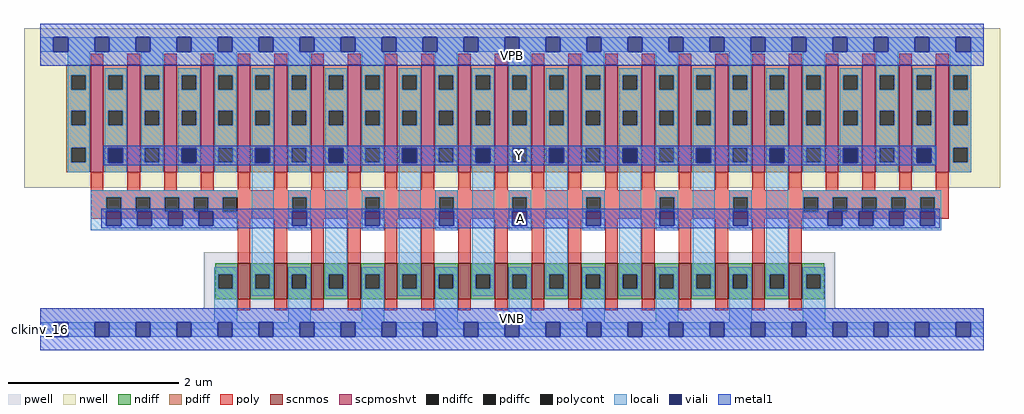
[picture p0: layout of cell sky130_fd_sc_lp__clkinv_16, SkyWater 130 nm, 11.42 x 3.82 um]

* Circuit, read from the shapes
.subckt sky130_fd_sc_lp__clkinv_16 A VGND VNB VPB VPWR Y
XM1 Y A VGND VNB sky130_fd_pr__nfet_01v8 w=0.42 l=0.15 m=16
XM2 Y A VPWR VPB sky130_fd_pr__pfet_01v8_hvt w=1.26 l=0.15 m=24
.ends

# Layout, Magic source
magic
tech sky130A
magscale 1 2
<< nwell >>
rect -38 331 2246 704
<< pwell >>
rect 383 49 1861 180
rect 0 0 2208 49
<< scnmos >>
rect 462 70 492 154
rect 548 70 578 154
rect 634 70 664 154
rect 720 70 750 154
rect 806 70 836 154
rect 892 70 922 154
rect 978 70 1008 154
rect 1064 70 1094 154
rect 1150 70 1180 154
rect 1236 70 1266 154
rect 1322 70 1352 154
rect 1408 70 1438 154
rect 1494 70 1524 154
rect 1580 70 1610 154
rect 1666 70 1696 154
rect 1752 70 1782 154
<< scpmoshvt >>
rect 118 367 148 619
rect 204 367 234 619
rect 290 367 320 619
rect 376 367 406 619
rect 462 367 492 619
rect 548 367 578 619
rect 634 367 664 619
rect 720 367 750 619
rect 806 367 836 619
rect 892 367 922 619
rect 978 367 1008 619
rect 1064 367 1094 619
rect 1150 367 1180 619
rect 1236 367 1266 619
rect 1322 367 1352 619
rect 1408 367 1438 619
rect 1494 367 1524 619
rect 1580 367 1610 619
rect 1666 367 1696 619
rect 1752 367 1782 619
rect 1838 367 1868 619
rect 1924 367 1954 619
rect 2010 367 2040 619
rect 2096 367 2126 619
<< ndiff >>
rect 409 129 462 154
rect 409 95 417 129
rect 451 95 462 129
rect 409 70 462 95
rect 492 129 548 154
rect 492 95 503 129
rect 537 95 548 129
rect 492 70 548 95
rect 578 129 634 154
rect 578 95 589 129
rect 623 95 634 129
rect 578 70 634 95
rect 664 129 720 154
rect 664 95 675 129
rect 709 95 720 129
rect 664 70 720 95
rect 750 129 806 154
rect 750 95 761 129
rect 795 95 806 129
rect 750 70 806 95
rect 836 129 892 154
rect 836 95 847 129
rect 881 95 892 129
rect 836 70 892 95
rect 922 129 978 154
rect 922 95 933 129
rect 967 95 978 129
rect 922 70 978 95
rect 1008 129 1064 154
rect 1008 95 1019 129
rect 1053 95 1064 129
rect 1008 70 1064 95
rect 1094 129 1150 154
rect 1094 95 1105 129
rect 1139 95 1150 129
rect 1094 70 1150 95
rect 1180 129 1236 154
rect 1180 95 1191 129
rect 1225 95 1236 129
rect 1180 70 1236 95
rect 1266 129 1322 154
rect 1266 95 1277 129
rect 1311 95 1322 129
rect 1266 70 1322 95
rect 1352 129 1408 154
rect 1352 95 1363 129
rect 1397 95 1408 129
rect 1352 70 1408 95
rect 1438 129 1494 154
rect 1438 95 1449 129
rect 1483 95 1494 129
rect 1438 70 1494 95
rect 1524 129 1580 154
rect 1524 95 1535 129
rect 1569 95 1580 129
rect 1524 70 1580 95
rect 1610 129 1666 154
rect 1610 95 1621 129
rect 1655 95 1666 129
rect 1610 70 1666 95
rect 1696 129 1752 154
rect 1696 95 1707 129
rect 1741 95 1752 129
rect 1696 70 1752 95
rect 1782 129 1835 154
rect 1782 95 1793 129
rect 1827 95 1835 129
rect 1782 70 1835 95
<< pdiff >>
rect 61 595 118 619
rect 61 561 73 595
rect 107 561 118 595
rect 61 511 118 561
rect 61 477 73 511
rect 107 477 118 511
rect 61 425 118 477
rect 61 391 73 425
rect 107 391 118 425
rect 61 367 118 391
rect 148 595 204 619
rect 148 561 159 595
rect 193 561 204 595
rect 148 511 204 561
rect 148 477 159 511
rect 193 477 204 511
rect 148 425 204 477
rect 148 391 159 425
rect 193 391 204 425
rect 148 367 204 391
rect 234 595 290 619
rect 234 561 245 595
rect 279 561 290 595
rect 234 511 290 561
rect 234 477 245 511
rect 279 477 290 511
rect 234 425 290 477
rect 234 391 245 425
rect 279 391 290 425
rect 234 367 290 391
rect 320 595 376 619
rect 320 561 331 595
rect 365 561 376 595
rect 320 511 376 561
rect 320 477 331 511
rect 365 477 376 511
rect 320 425 376 477
rect 320 391 331 425
rect 365 391 376 425
rect 320 367 376 391
rect 406 595 462 619
rect 406 561 417 595
rect 451 561 462 595
rect 406 511 462 561
rect 406 477 417 511
rect 451 477 462 511
rect 406 425 462 477
rect 406 391 417 425
rect 451 391 462 425
rect 406 367 462 391
rect 492 595 548 619
rect 492 561 503 595
rect 537 561 548 595
rect 492 511 548 561
rect 492 477 503 511
rect 537 477 548 511
rect 492 425 548 477
rect 492 391 503 425
rect 537 391 548 425
rect 492 367 548 391
rect 578 595 634 619
rect 578 561 589 595
rect 623 561 634 595
rect 578 511 634 561
rect 578 477 589 511
rect 623 477 634 511
rect 578 425 634 477
rect 578 391 589 425
rect 623 391 634 425
rect 578 367 634 391
rect 664 595 720 619
rect 664 561 675 595
rect 709 561 720 595
rect 664 511 720 561
rect 664 477 675 511
rect 709 477 720 511
rect 664 425 720 477
rect 664 391 675 425
rect 709 391 720 425
rect 664 367 720 391
rect 750 595 806 619
rect 750 561 761 595
rect 795 561 806 595
rect 750 511 806 561
rect 750 477 761 511
rect 795 477 806 511
rect 750 425 806 477
rect 750 391 761 425
rect 795 391 806 425
rect 750 367 806 391
rect 836 595 892 619
rect 836 561 847 595
rect 881 561 892 595
rect 836 511 892 561
rect 836 477 847 511
rect 881 477 892 511
rect 836 425 892 477
rect 836 391 847 425
rect 881 391 892 425
rect 836 367 892 391
rect 922 595 978 619
rect 922 561 933 595
rect 967 561 978 595
rect 922 511 978 561
rect 922 477 933 511
rect 967 477 978 511
rect 922 425 978 477
rect 922 391 933 425
rect 967 391 978 425
rect 922 367 978 391
rect 1008 595 1064 619
rect 1008 561 1019 595
rect 1053 561 1064 595
rect 1008 511 1064 561
rect 1008 477 1019 511
rect 1053 477 1064 511
rect 1008 425 1064 477
rect 1008 391 1019 425
rect 1053 391 1064 425
rect 1008 367 1064 391
rect 1094 595 1150 619
rect 1094 561 1105 595
rect 1139 561 1150 595
rect 1094 511 1150 561
rect 1094 477 1105 511
rect 1139 477 1150 511
rect 1094 425 1150 477
rect 1094 391 1105 425
rect 1139 391 1150 425
rect 1094 367 1150 391
rect 1180 595 1236 619
rect 1180 561 1191 595
rect 1225 561 1236 595
rect 1180 511 1236 561
rect 1180 477 1191 511
rect 1225 477 1236 511
rect 1180 425 1236 477
rect 1180 391 1191 425
rect 1225 391 1236 425
rect 1180 367 1236 391
rect 1266 595 1322 619
rect 1266 561 1277 595
rect 1311 561 1322 595
rect 1266 511 1322 561
rect 1266 477 1277 511
rect 1311 477 1322 511
rect 1266 425 1322 477
rect 1266 391 1277 425
rect 1311 391 1322 425
rect 1266 367 1322 391
rect 1352 595 1408 619
rect 1352 561 1363 595
rect 1397 561 1408 595
rect 1352 511 1408 561
rect 1352 477 1363 511
rect 1397 477 1408 511
rect 1352 425 1408 477
rect 1352 391 1363 425
rect 1397 391 1408 425
rect 1352 367 1408 391
rect 1438 595 1494 619
rect 1438 561 1449 595
rect 1483 561 1494 595
rect 1438 511 1494 561
rect 1438 477 1449 511
rect 1483 477 1494 511
rect 1438 425 1494 477
rect 1438 391 1449 425
rect 1483 391 1494 425
rect 1438 367 1494 391
rect 1524 595 1580 619
rect 1524 561 1535 595
rect 1569 561 1580 595
rect 1524 511 1580 561
rect 1524 477 1535 511
rect 1569 477 1580 511
rect 1524 425 1580 477
rect 1524 391 1535 425
rect 1569 391 1580 425
rect 1524 367 1580 391
rect 1610 595 1666 619
rect 1610 561 1621 595
rect 1655 561 1666 595
rect 1610 511 1666 561
rect 1610 477 1621 511
rect 1655 477 1666 511
rect 1610 425 1666 477
rect 1610 391 1621 425
rect 1655 391 1666 425
rect 1610 367 1666 391
rect 1696 595 1752 619
rect 1696 561 1707 595
rect 1741 561 1752 595
rect 1696 511 1752 561
rect 1696 477 1707 511
rect 1741 477 1752 511
rect 1696 425 1752 477
rect 1696 391 1707 425
rect 1741 391 1752 425
rect 1696 367 1752 391
rect 1782 595 1838 619
rect 1782 561 1793 595
rect 1827 561 1838 595
rect 1782 511 1838 561
rect 1782 477 1793 511
rect 1827 477 1838 511
rect 1782 425 1838 477
rect 1782 391 1793 425
rect 1827 391 1838 425
rect 1782 367 1838 391
rect 1868 595 1924 619
rect 1868 561 1879 595
rect 1913 561 1924 595
rect 1868 511 1924 561
rect 1868 477 1879 511
rect 1913 477 1924 511
rect 1868 425 1924 477
rect 1868 391 1879 425
rect 1913 391 1924 425
rect 1868 367 1924 391
rect 1954 595 2010 619
rect 1954 561 1965 595
rect 1999 561 2010 595
rect 1954 511 2010 561
rect 1954 477 1965 511
rect 1999 477 2010 511
rect 1954 425 2010 477
rect 1954 391 1965 425
rect 1999 391 2010 425
rect 1954 367 2010 391
rect 2040 595 2096 619
rect 2040 561 2051 595
rect 2085 561 2096 595
rect 2040 511 2096 561
rect 2040 477 2051 511
rect 2085 477 2096 511
rect 2040 425 2096 477
rect 2040 391 2051 425
rect 2085 391 2096 425
rect 2040 367 2096 391
rect 2126 595 2179 619
rect 2126 561 2137 595
rect 2171 561 2179 595
rect 2126 511 2179 561
rect 2126 477 2137 511
rect 2171 477 2179 511
rect 2126 425 2179 477
rect 2126 391 2137 425
rect 2171 391 2179 425
rect 2126 367 2179 391
<< ndiffc >>
rect 417 95 451 129
rect 503 95 537 129
rect 589 95 623 129
rect 675 95 709 129
rect 761 95 795 129
rect 847 95 881 129
rect 933 95 967 129
rect 1019 95 1053 129
rect 1105 95 1139 129
rect 1191 95 1225 129
rect 1277 95 1311 129
rect 1363 95 1397 129
rect 1449 95 1483 129
rect 1535 95 1569 129
rect 1621 95 1655 129
rect 1707 95 1741 129
rect 1793 95 1827 129
<< pdiffc >>
rect 73 561 107 595
rect 73 477 107 511
rect 73 391 107 425
rect 159 561 193 595
rect 159 477 193 511
rect 159 391 193 425
rect 245 561 279 595
rect 245 477 279 511
rect 245 391 279 425
rect 331 561 365 595
rect 331 477 365 511
rect 331 391 365 425
rect 417 561 451 595
rect 417 477 451 511
rect 417 391 451 425
rect 503 561 537 595
rect 503 477 537 511
rect 503 391 537 425
rect 589 561 623 595
rect 589 477 623 511
rect 589 391 623 425
rect 675 561 709 595
rect 675 477 709 511
rect 675 391 709 425
rect 761 561 795 595
rect 761 477 795 511
rect 761 391 795 425
rect 847 561 881 595
rect 847 477 881 511
rect 847 391 881 425
rect 933 561 967 595
rect 933 477 967 511
rect 933 391 967 425
rect 1019 561 1053 595
rect 1019 477 1053 511
rect 1019 391 1053 425
rect 1105 561 1139 595
rect 1105 477 1139 511
rect 1105 391 1139 425
rect 1191 561 1225 595
rect 1191 477 1225 511
rect 1191 391 1225 425
rect 1277 561 1311 595
rect 1277 477 1311 511
rect 1277 391 1311 425
rect 1363 561 1397 595
rect 1363 477 1397 511
rect 1363 391 1397 425
rect 1449 561 1483 595
rect 1449 477 1483 511
rect 1449 391 1483 425
rect 1535 561 1569 595
rect 1535 477 1569 511
rect 1535 391 1569 425
rect 1621 561 1655 595
rect 1621 477 1655 511
rect 1621 391 1655 425
rect 1707 561 1741 595
rect 1707 477 1741 511
rect 1707 391 1741 425
rect 1793 561 1827 595
rect 1793 477 1827 511
rect 1793 391 1827 425
rect 1879 561 1913 595
rect 1879 477 1913 511
rect 1879 391 1913 425
rect 1965 561 1999 595
rect 1965 477 1999 511
rect 1965 391 1999 425
rect 2051 561 2085 595
rect 2051 477 2085 511
rect 2051 391 2085 425
rect 2137 561 2171 595
rect 2137 477 2171 511
rect 2137 391 2171 425
<< poly >>
rect 118 619 148 645
rect 204 619 234 645
rect 290 619 320 645
rect 376 619 406 645
rect 462 619 492 645
rect 548 619 578 645
rect 634 619 664 645
rect 720 619 750 645
rect 806 619 836 645
rect 892 619 922 645
rect 978 619 1008 645
rect 1064 619 1094 645
rect 1150 619 1180 645
rect 1236 619 1266 645
rect 1322 619 1352 645
rect 1408 619 1438 645
rect 1494 619 1524 645
rect 1580 619 1610 645
rect 1666 619 1696 645
rect 1752 619 1782 645
rect 1838 619 1868 645
rect 1924 619 1954 645
rect 2010 619 2040 645
rect 2096 619 2126 645
rect 118 325 148 367
rect 204 325 234 367
rect 290 325 320 367
rect 376 325 406 367
rect 462 325 492 367
rect 548 325 578 367
rect 634 325 664 367
rect 720 325 750 367
rect 806 325 836 367
rect 892 325 922 367
rect 978 325 1008 367
rect 1064 325 1094 367
rect 1150 325 1180 367
rect 1236 325 1266 367
rect 1322 325 1352 367
rect 1408 325 1438 367
rect 1494 325 1524 367
rect 1580 325 1610 367
rect 1666 325 1696 367
rect 1752 325 1782 367
rect 1838 325 1868 367
rect 1924 325 1954 367
rect 2010 325 2040 367
rect 2096 325 2126 367
rect 118 309 2126 325
rect 118 275 155 309
rect 189 275 223 309
rect 257 275 291 309
rect 325 275 359 309
rect 393 275 427 309
rect 461 275 590 309
rect 624 275 761 309
rect 795 275 934 309
rect 968 275 1105 309
rect 1139 275 1278 309
rect 1312 275 1450 309
rect 1484 275 1622 309
rect 1656 275 1787 309
rect 1821 275 1855 309
rect 1889 275 1923 309
rect 1957 275 1991 309
rect 2025 275 2059 309
rect 2093 275 2126 309
rect 118 259 2126 275
rect 462 154 492 259
rect 548 154 578 259
rect 634 154 664 259
rect 720 154 750 259
rect 806 154 836 259
rect 892 154 922 259
rect 978 154 1008 259
rect 1064 154 1094 259
rect 1150 154 1180 259
rect 1236 154 1266 259
rect 1322 154 1352 259
rect 1408 154 1438 259
rect 1494 154 1524 259
rect 1580 154 1610 259
rect 1666 154 1696 259
rect 1752 154 1782 259
rect 462 44 492 70
rect 548 44 578 70
rect 634 44 664 70
rect 720 44 750 70
rect 806 44 836 70
rect 892 44 922 70
rect 978 44 1008 70
rect 1064 44 1094 70
rect 1150 44 1180 70
rect 1236 44 1266 70
rect 1322 44 1352 70
rect 1408 44 1438 70
rect 1494 44 1524 70
rect 1580 44 1610 70
rect 1666 44 1696 70
rect 1752 44 1782 70
<< polycont >>
rect 155 275 189 309
rect 223 275 257 309
rect 291 275 325 309
rect 359 275 393 309
rect 427 275 461 309
rect 590 275 624 309
rect 761 275 795 309
rect 934 275 968 309
rect 1105 275 1139 309
rect 1278 275 1312 309
rect 1450 275 1484 309
rect 1622 275 1656 309
rect 1787 275 1821 309
rect 1855 275 1889 309
rect 1923 275 1957 309
rect 1991 275 2025 309
rect 2059 275 2093 309
<< locali >>
rect 0 649 31 683
rect 65 649 127 683
rect 161 649 223 683
rect 257 649 319 683
rect 353 649 415 683
rect 449 649 511 683
rect 545 649 607 683
rect 641 649 703 683
rect 737 649 799 683
rect 833 649 895 683
rect 929 649 991 683
rect 1025 649 1087 683
rect 1121 649 1183 683
rect 1217 649 1279 683
rect 1313 649 1375 683
rect 1409 649 1471 683
rect 1505 649 1567 683
rect 1601 649 1663 683
rect 1697 649 1759 683
rect 1793 649 1855 683
rect 1889 649 1951 683
rect 1985 649 2047 683
rect 2081 649 2143 683
rect 2177 649 2208 683
rect 64 595 116 649
rect 64 561 73 595
rect 107 561 116 595
rect 64 511 116 561
rect 64 477 73 511
rect 107 477 116 511
rect 64 425 116 477
rect 64 391 73 425
rect 107 391 116 425
rect 64 367 116 391
rect 151 595 202 611
rect 151 561 159 595
rect 193 561 202 595
rect 151 511 202 561
rect 151 477 159 511
rect 193 477 202 511
rect 151 425 202 477
rect 151 390 159 425
rect 193 390 202 425
rect 151 367 202 390
rect 236 595 288 649
rect 236 561 245 595
rect 279 561 288 595
rect 236 511 288 561
rect 236 477 245 511
rect 279 477 288 511
rect 236 425 288 477
rect 236 391 245 425
rect 279 391 288 425
rect 236 367 288 391
rect 323 595 374 611
rect 323 561 331 595
rect 365 561 374 595
rect 323 511 374 561
rect 323 477 331 511
rect 365 477 374 511
rect 323 425 374 477
rect 323 390 331 425
rect 365 390 374 425
rect 323 367 374 390
rect 408 595 460 649
rect 408 561 417 595
rect 451 561 460 595
rect 408 511 460 561
rect 408 477 417 511
rect 451 477 460 511
rect 408 425 460 477
rect 408 391 417 425
rect 451 391 460 425
rect 408 367 460 391
rect 495 595 546 611
rect 495 561 503 595
rect 537 561 546 595
rect 495 511 546 561
rect 495 477 503 511
rect 537 477 546 511
rect 495 425 546 477
rect 495 390 503 425
rect 537 390 546 425
rect 118 309 461 325
rect 118 242 155 309
rect 189 275 223 309
rect 257 276 291 309
rect 325 276 359 309
rect 393 276 427 309
rect 261 275 291 276
rect 333 275 359 276
rect 405 275 427 276
rect 189 242 227 275
rect 261 242 299 275
rect 333 242 371 275
rect 405 242 461 275
rect 118 232 461 242
rect 407 129 461 145
rect 407 95 417 129
rect 451 95 461 129
rect 407 17 461 95
rect 495 129 546 390
rect 580 595 632 649
rect 580 561 589 595
rect 623 561 632 595
rect 580 511 632 561
rect 580 477 589 511
rect 623 477 632 511
rect 580 425 632 477
rect 580 391 589 425
rect 623 391 632 425
rect 580 367 632 391
rect 667 595 718 611
rect 667 561 675 595
rect 709 561 718 595
rect 667 511 718 561
rect 667 477 675 511
rect 709 477 718 511
rect 667 425 718 477
rect 667 390 675 425
rect 709 390 718 425
rect 580 309 633 325
rect 580 242 590 309
rect 624 242 633 309
rect 580 232 633 242
rect 495 95 503 129
rect 537 95 546 129
rect 495 79 546 95
rect 580 129 633 145
rect 580 95 589 129
rect 623 95 633 129
rect 580 17 633 95
rect 667 129 718 390
rect 752 595 804 649
rect 752 561 761 595
rect 795 561 804 595
rect 752 511 804 561
rect 752 477 761 511
rect 795 477 804 511
rect 752 425 804 477
rect 752 391 761 425
rect 795 391 804 425
rect 752 367 804 391
rect 839 595 890 611
rect 839 561 847 595
rect 881 561 890 595
rect 839 511 890 561
rect 839 477 847 511
rect 881 477 890 511
rect 839 425 890 477
rect 839 390 847 425
rect 881 390 890 425
rect 752 309 805 325
rect 752 242 761 309
rect 795 242 805 309
rect 752 232 805 242
rect 667 95 675 129
rect 709 95 718 129
rect 667 79 718 95
rect 752 129 805 145
rect 752 95 761 129
rect 795 95 805 129
rect 752 17 805 95
rect 839 129 890 390
rect 924 595 976 649
rect 924 561 933 595
rect 967 561 976 595
rect 924 511 976 561
rect 924 477 933 511
rect 967 477 976 511
rect 924 425 976 477
rect 924 391 933 425
rect 967 391 976 425
rect 924 367 976 391
rect 1010 595 1062 611
rect 1010 561 1019 595
rect 1053 561 1062 595
rect 1010 511 1062 561
rect 1010 477 1019 511
rect 1053 477 1062 511
rect 1010 425 1062 477
rect 1010 390 1019 425
rect 1053 390 1062 425
rect 1010 377 1062 390
rect 924 309 977 325
rect 924 242 934 309
rect 968 242 977 309
rect 924 232 977 242
rect 839 95 847 129
rect 881 95 890 129
rect 839 79 890 95
rect 924 129 977 145
rect 924 95 933 129
rect 967 95 977 129
rect 924 17 977 95
rect 1011 129 1062 377
rect 1096 595 1148 649
rect 1096 561 1105 595
rect 1139 561 1148 595
rect 1096 511 1148 561
rect 1096 477 1105 511
rect 1139 477 1148 511
rect 1096 425 1148 477
rect 1096 391 1105 425
rect 1139 391 1148 425
rect 1096 367 1148 391
rect 1183 595 1234 611
rect 1183 561 1191 595
rect 1225 561 1234 595
rect 1183 511 1234 561
rect 1183 477 1191 511
rect 1225 477 1234 511
rect 1183 425 1234 477
rect 1183 390 1191 425
rect 1225 390 1234 425
rect 1096 309 1149 325
rect 1096 242 1105 309
rect 1139 242 1149 309
rect 1096 232 1149 242
rect 1011 95 1019 129
rect 1053 95 1062 129
rect 1011 79 1062 95
rect 1096 129 1149 145
rect 1096 95 1105 129
rect 1139 95 1149 129
rect 1096 17 1149 95
rect 1183 129 1234 390
rect 1268 595 1320 649
rect 1268 561 1277 595
rect 1311 561 1320 595
rect 1268 511 1320 561
rect 1268 477 1277 511
rect 1311 477 1320 511
rect 1268 425 1320 477
rect 1268 391 1277 425
rect 1311 391 1320 425
rect 1268 367 1320 391
rect 1355 595 1406 611
rect 1355 561 1363 595
rect 1397 561 1406 595
rect 1355 511 1406 561
rect 1355 477 1363 511
rect 1397 477 1406 511
rect 1355 425 1406 477
rect 1355 390 1363 425
rect 1397 390 1406 425
rect 1268 309 1321 325
rect 1268 242 1278 309
rect 1312 242 1321 309
rect 1268 232 1321 242
rect 1183 95 1191 129
rect 1225 95 1234 129
rect 1183 79 1234 95
rect 1268 129 1321 145
rect 1268 95 1277 129
rect 1311 95 1321 129
rect 1268 17 1321 95
rect 1355 129 1406 390
rect 1440 595 1492 649
rect 1440 561 1449 595
rect 1483 561 1492 595
rect 1440 511 1492 561
rect 1440 477 1449 511
rect 1483 477 1492 511
rect 1440 425 1492 477
rect 1440 391 1449 425
rect 1483 391 1492 425
rect 1440 367 1492 391
rect 1527 595 1578 611
rect 1527 561 1535 595
rect 1569 561 1578 595
rect 1527 511 1578 561
rect 1527 477 1535 511
rect 1569 477 1578 511
rect 1527 425 1578 477
rect 1527 390 1535 425
rect 1569 390 1578 425
rect 1440 309 1493 325
rect 1440 242 1450 309
rect 1484 242 1493 309
rect 1440 232 1493 242
rect 1355 95 1363 129
rect 1397 95 1406 129
rect 1355 79 1406 95
rect 1440 129 1493 145
rect 1440 95 1449 129
rect 1483 95 1493 129
rect 1440 17 1493 95
rect 1527 129 1578 390
rect 1612 595 1664 649
rect 1612 561 1621 595
rect 1655 561 1664 595
rect 1612 511 1664 561
rect 1612 477 1621 511
rect 1655 477 1664 511
rect 1612 425 1664 477
rect 1612 391 1621 425
rect 1655 391 1664 425
rect 1612 367 1664 391
rect 1699 595 1750 611
rect 1699 561 1707 595
rect 1741 561 1750 595
rect 1699 511 1750 561
rect 1699 477 1707 511
rect 1741 477 1750 511
rect 1699 425 1750 477
rect 1699 390 1707 425
rect 1741 390 1750 425
rect 1612 309 1665 325
rect 1612 242 1622 309
rect 1656 242 1665 309
rect 1612 232 1665 242
rect 1527 95 1535 129
rect 1569 95 1578 129
rect 1527 79 1578 95
rect 1612 129 1665 145
rect 1612 95 1621 129
rect 1655 95 1665 129
rect 1612 17 1665 95
rect 1699 129 1750 390
rect 1784 595 1836 649
rect 1784 561 1793 595
rect 1827 561 1836 595
rect 1784 511 1836 561
rect 1784 477 1793 511
rect 1827 477 1836 511
rect 1784 425 1836 477
rect 1784 391 1793 425
rect 1827 391 1836 425
rect 1784 367 1836 391
rect 1871 595 1922 611
rect 1871 561 1879 595
rect 1913 561 1922 595
rect 1871 511 1922 561
rect 1871 477 1879 511
rect 1913 477 1922 511
rect 1871 425 1922 477
rect 1871 390 1879 425
rect 1913 390 1922 425
rect 1871 367 1922 390
rect 1956 595 2008 649
rect 1956 561 1965 595
rect 1999 561 2008 595
rect 1956 511 2008 561
rect 1956 477 1965 511
rect 1999 477 2008 511
rect 1956 425 2008 477
rect 1956 391 1965 425
rect 1999 391 2008 425
rect 1956 367 2008 391
rect 2042 595 2094 611
rect 2042 561 2051 595
rect 2085 561 2094 595
rect 2042 511 2094 561
rect 2042 477 2051 511
rect 2085 477 2094 511
rect 2042 425 2094 477
rect 2042 390 2051 425
rect 2085 390 2094 425
rect 2042 367 2094 390
rect 2128 595 2179 649
rect 2128 561 2137 595
rect 2171 561 2179 595
rect 2128 511 2179 561
rect 2128 477 2137 511
rect 2171 477 2179 511
rect 2128 425 2179 477
rect 2128 391 2137 425
rect 2171 391 2179 425
rect 2128 367 2179 391
rect 1784 309 2109 325
rect 1784 275 1787 309
rect 1821 276 1855 309
rect 1889 276 1923 309
rect 1957 276 1991 309
rect 1821 275 1843 276
rect 1889 275 1915 276
rect 1957 275 1987 276
rect 2025 275 2059 309
rect 1784 242 1843 275
rect 1877 242 1915 275
rect 1949 242 1987 275
rect 2021 242 2059 275
rect 2093 242 2109 309
rect 1784 232 2109 242
rect 1699 95 1707 129
rect 1741 95 1750 129
rect 1699 79 1750 95
rect 1784 129 1837 145
rect 1784 95 1793 129
rect 1827 95 1837 129
rect 1784 17 1837 95
rect 0 -17 31 17
rect 65 -17 127 17
rect 161 -17 223 17
rect 257 -17 319 17
rect 353 -17 415 17
rect 449 -17 511 17
rect 545 -17 607 17
rect 641 -17 703 17
rect 737 -17 799 17
rect 833 -17 895 17
rect 929 -17 991 17
rect 1025 -17 1087 17
rect 1121 -17 1183 17
rect 1217 -17 1279 17
rect 1313 -17 1375 17
rect 1409 -17 1471 17
rect 1505 -17 1567 17
rect 1601 -17 1663 17
rect 1697 -17 1759 17
rect 1793 -17 1855 17
rect 1889 -17 1951 17
rect 1985 -17 2047 17
rect 2081 -17 2143 17
rect 2177 -17 2208 17
<< viali >>
rect 31 649 65 683
rect 127 649 161 683
rect 223 649 257 683
rect 319 649 353 683
rect 415 649 449 683
rect 511 649 545 683
rect 607 649 641 683
rect 703 649 737 683
rect 799 649 833 683
rect 895 649 929 683
rect 991 649 1025 683
rect 1087 649 1121 683
rect 1183 649 1217 683
rect 1279 649 1313 683
rect 1375 649 1409 683
rect 1471 649 1505 683
rect 1567 649 1601 683
rect 1663 649 1697 683
rect 1759 649 1793 683
rect 1855 649 1889 683
rect 1951 649 1985 683
rect 2047 649 2081 683
rect 2143 649 2177 683
rect 159 391 193 424
rect 159 390 193 391
rect 331 391 365 424
rect 331 390 365 391
rect 503 391 537 424
rect 503 390 537 391
rect 155 275 189 276
rect 227 275 257 276
rect 257 275 261 276
rect 299 275 325 276
rect 325 275 333 276
rect 371 275 393 276
rect 393 275 405 276
rect 155 242 189 275
rect 227 242 261 275
rect 299 242 333 275
rect 371 242 405 275
rect 675 391 709 424
rect 675 390 709 391
rect 590 275 624 276
rect 590 242 624 275
rect 847 391 881 424
rect 847 390 881 391
rect 761 275 795 276
rect 761 242 795 275
rect 1019 391 1053 424
rect 1019 390 1053 391
rect 934 275 968 276
rect 934 242 968 275
rect 1191 391 1225 424
rect 1191 390 1225 391
rect 1105 275 1139 276
rect 1105 242 1139 275
rect 1363 391 1397 424
rect 1363 390 1397 391
rect 1278 275 1312 276
rect 1278 242 1312 275
rect 1535 391 1569 424
rect 1535 390 1569 391
rect 1450 275 1484 276
rect 1450 242 1484 275
rect 1707 391 1741 424
rect 1707 390 1741 391
rect 1622 275 1656 276
rect 1622 242 1656 275
rect 1879 391 1913 424
rect 1879 390 1913 391
rect 2051 391 2085 424
rect 2051 390 2085 391
rect 1843 275 1855 276
rect 1855 275 1877 276
rect 1915 275 1923 276
rect 1923 275 1949 276
rect 1987 275 1991 276
rect 1991 275 2021 276
rect 2059 275 2093 276
rect 1843 242 1877 275
rect 1915 242 1949 275
rect 1987 242 2021 275
rect 2059 242 2093 275
rect 31 -17 65 17
rect 127 -17 161 17
rect 223 -17 257 17
rect 319 -17 353 17
rect 415 -17 449 17
rect 511 -17 545 17
rect 607 -17 641 17
rect 703 -17 737 17
rect 799 -17 833 17
rect 895 -17 929 17
rect 991 -17 1025 17
rect 1087 -17 1121 17
rect 1183 -17 1217 17
rect 1279 -17 1313 17
rect 1375 -17 1409 17
rect 1471 -17 1505 17
rect 1567 -17 1601 17
rect 1663 -17 1697 17
rect 1759 -17 1793 17
rect 1855 -17 1889 17
rect 1951 -17 1985 17
rect 2047 -17 2081 17
rect 2143 -17 2177 17
<< metal1 >>
rect 0 683 2208 715
rect 0 649 31 683
rect 65 649 127 683
rect 161 649 223 683
rect 257 649 319 683
rect 353 649 415 683
rect 449 649 511 683
rect 545 649 607 683
rect 641 649 703 683
rect 737 649 799 683
rect 833 649 895 683
rect 929 649 991 683
rect 1025 649 1087 683
rect 1121 649 1183 683
rect 1217 649 1279 683
rect 1313 649 1375 683
rect 1409 649 1471 683
rect 1505 649 1567 683
rect 1601 649 1663 683
rect 1697 649 1759 683
rect 1793 649 1855 683
rect 1889 649 1951 683
rect 1985 649 2047 683
rect 2081 649 2143 683
rect 2177 649 2208 683
rect 0 617 2208 649
rect 147 424 2097 430
rect 147 390 159 424
rect 193 390 331 424
rect 365 390 503 424
rect 537 390 675 424
rect 709 390 847 424
rect 881 390 1019 424
rect 1053 390 1191 424
rect 1225 390 1363 424
rect 1397 390 1535 424
rect 1569 390 1707 424
rect 1741 390 1879 424
rect 1913 390 2051 424
rect 2085 390 2097 424
rect 147 384 2097 390
rect 143 276 2105 282
rect 143 242 155 276
rect 189 242 227 276
rect 261 242 299 276
rect 333 242 371 276
rect 405 242 590 276
rect 624 242 761 276
rect 795 242 934 276
rect 968 242 1105 276
rect 1139 242 1278 276
rect 1312 242 1450 276
rect 1484 242 1622 276
rect 1656 242 1843 276
rect 1877 242 1915 276
rect 1949 242 1987 276
rect 2021 242 2059 276
rect 2093 242 2105 276
rect 143 236 2105 242
rect 0 17 2208 49
rect 0 -17 31 17
rect 65 -17 127 17
rect 161 -17 223 17
rect 257 -17 319 17
rect 353 -17 415 17
rect 449 -17 511 17
rect 545 -17 607 17
rect 641 -17 703 17
rect 737 -17 799 17
rect 833 -17 895 17
rect 929 -17 991 17
rect 1025 -17 1087 17
rect 1121 -17 1183 17
rect 1217 -17 1279 17
rect 1313 -17 1375 17
rect 1409 -17 1471 17
rect 1505 -17 1567 17
rect 1601 -17 1663 17
rect 1697 -17 1759 17
rect 1793 -17 1855 17
rect 1889 -17 1951 17
rect 1985 -17 2047 17
rect 2081 -17 2143 17
rect 2177 -17 2208 17
rect 0 -49 2208 -17
<< labels >>
flabel pwell s 0 0 2208 49 0 FreeSans 200 0 0 0 VNB
port 3 nsew ground bidirectional
flabel nwell s 0 617 2208 666 0 FreeSans 200 0 0 0 VPB
port 4 nsew power bidirectional
rlabel comment s 0 0 0 0 4 clkinv_16
flabel metal1 s 0 617 2208 666 0 FreeSans 340 0 0 0 VPWR
port 5 nsew power bidirectional
flabel metal1 s 0 0 2208 49 0 FreeSans 340 0 0 0 VGND
port 2 nsew ground bidirectional
flabel metal1 s 143 236 2105 282 0 FreeSans 200 0 0 0 A
port 1 nsew signal input
flabel metal1 s 147 384 2097 430 0 FreeSans 200 0 0 0 Y
port 6 nsew signal output
<< properties >>
string LEFsite unit
string LEFclass CORE
string FIXED_BBOX 0 0 2208 666
string GDS_FILE $PDKPATH/libs.ref/sky130_fd_sc_lp/gds/sky130_fd_sc_lp.gds
string LEFsymmetry X Y R90
string GDS_END 4681606
string GDS_START 4664778
<< end >>
